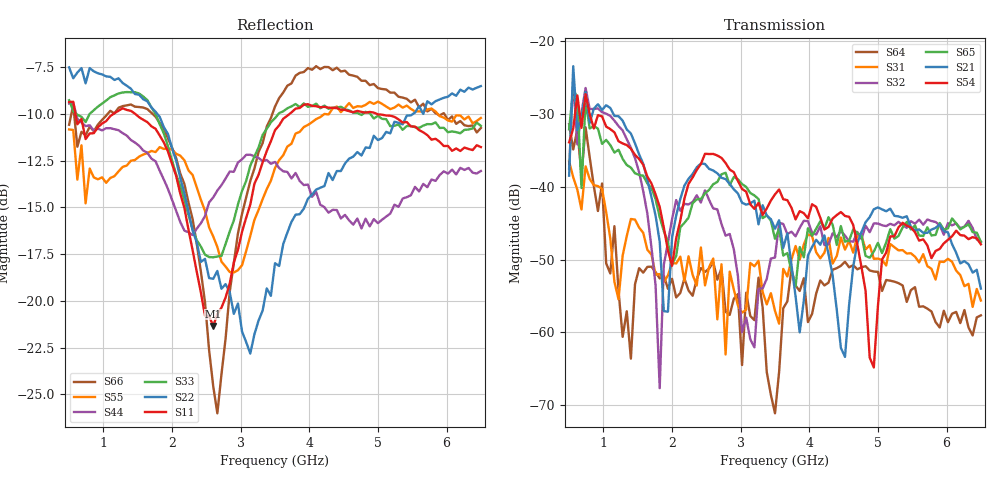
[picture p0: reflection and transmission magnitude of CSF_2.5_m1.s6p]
!Keysight Technologies,M9804A,MY58100912,A.14.10.03
!Date: Thursday, April 27, 2023 10:28:33
!Correction: S11(C  6-Port  )
!S12(C  6-Port  )
!S13(C  6-Port  )
!S14(C  6-Port  )
!S15(C  6-Port  )
!S16(C  6-Port  )
!S21(C  6-Port  )
!S22(C  6-Port  )
!S23(C  6-Port  )
!S24(C  6-Port  )
!S25(C  6-Port  )
!S26(C  6-Port  )
!S31(C  6-Port  )
!S32(C  6-Port  )
!S33(C  6-Port  )
!S34(C  6-Port  )
!S35(C  6-Port  )
!S36(C  6-Port  )
!S41(C  6-Port  )
!S42(C  6-Port  )
!S43(C  6-Port  )
!S44(C  6-Port  )
!S45(C  6-Port  )
!S46(C  6-Port  )
!S51(C  6-Port  )
!S52(C  6-Port  )
!S53(C  6-Port  )
!S54(C  6-Port  )
!S55(C  6-Port  )
!S56(C  6-Port  )
!S61(C  6-Port  )
!S62(C  6-Port  )
!S63(C  6-Port  )
!S64(C  6-Port  )
!S65(C  6-Port  )
!S66(C  6-Port  )
!S6P File: Measurement: :
# Hz S  RI  R 50
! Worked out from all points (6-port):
!   101 points, 500 MHz to 6.5 GHz, reference 50 ohm
!   strongest paths, dB at 500 MHz, 2 GHz, 3.5 GHz, 5 GHz, 6.5 GHz:
!     S54: -33.9, -50.9, -41.0, -56.3, -47.9
!     S21: -38.5, -46.9, -45.8, -42.8, -54.0
!     S65: -32.1, -50.7, -47.1, -47.7, -47.6
!     S32: -37.5, -44.5, -49.7, -45.0, -47.5
!     S31: -36.5, -50.4, -57.0, -49.9, -55.6
!     S64: -31.4, -52.6, -71.1, -51.7, -57.7
!   lowest |S11| = -21.3 dB at 2.6 GHz (marker M1), VSWR 1.19, Z = 42.4 + j2.28 ohm
!   |S11| at or under -10 dB: 592.7 MHz to 1.143 GHz (550.2 MHz wide, 63.4 % of centre); 1.466 GHz to 3.71 GHz (2.244 GHz wide, 86.7 % of centre); 4.989 GHz to end of sweep
